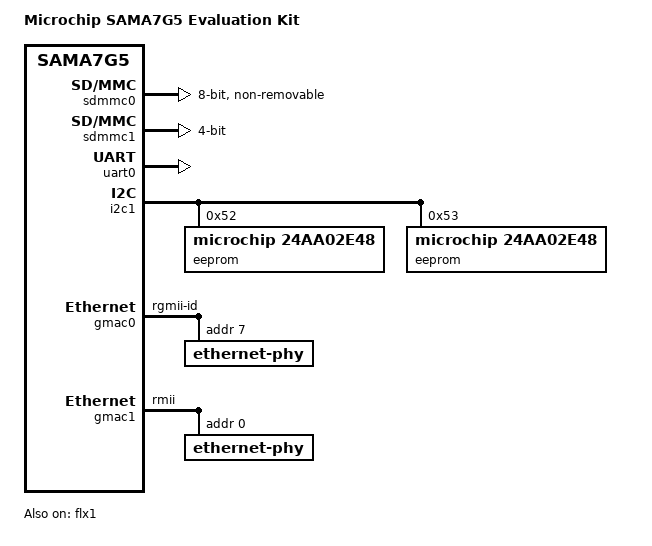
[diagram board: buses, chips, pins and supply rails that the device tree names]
// SPDX-License-Identifier: GPL-2.0+ OR MIT
/*
 * sama7g5ek.dts - Device Tree file for SAMA7G5 EK
 *		   SAMA7G5 Evaluation Kit
 *
 *  Copyright (c) 2020, Microchip Technology Inc.
 *                2020, Eugen Hristev <eugen.hristev@microchip.com>
 *		  2020, Claudiu Beznea <claudiu.beznea@microchip.com>
 */
/dts-v1/;
#include <dt-bindings/mfd/atmel-flexcom.h>
#include "sama7g5.dtsi"
#include "sama7g5-pinfunc.h"

/ {
	model = "Microchip SAMA7G5 Evaluation Kit";
	compatible = "microchip,sama7g5ek", "microchip,sama7g54", "microchip,sama7g5", "microchip,sama7";

	aliases {
		serial0 = &uart0;
		i2c0 = &i2c1;
	};

	chosen {
		stdout-path = "serial0:115200n8";
	};

	clocks {
		slow_xtal: slow_xtal {
			clock-frequency = <32768>;
		};

		main_xtal: main_xtal {
			clock-frequency = <24000000>;
		};
	};

	ahb {

		apb {
			sdmmc0: sdio-host@e1204000 {
				bus-width = <8>;
				non-removable;
				pinctrl-names = "default";
				pinctrl-0 = <&pinctrl_sdmmc0_cmd_data_default
					     &pinctrl_sdmmc0_ck_rstn_ds_cd_default>;
				status = "okay";
			};

			sdmmc1: sdio-host@e1208000 {
				bus-width = <4>;
				pinctrl-names = "default";
				pinctrl-0 = <&pinctrl_sdmmc1_cmd_data_default
					     &pinctrl_sdmmc1_ck_cd_rstn_vddsel_default>;
				status = "okay";
			};

			uart0: serial@e1824200 {
				pinctrl-names = "default";
				pinctrl-0 = <&pinctrl_flx3_default>;
				status = "okay";
			};
		};
	};
};

&flx1 {
	atmel,flexcom-mode = <ATMEL_FLEXCOM_MODE_TWI>;
	status = "okay";
};

&i2c1 {
	pinctrl-names = "default";
	pinctrl-0 = <&pinctrl_flx1_default>;
	status = "okay";

	eeprom@52 {
		compatible = "microchip,24aa02e48";
		reg = <0x52>;
		pagesize = <16>;
	};

	eeprom@53 {
		compatible = "microchip,24aa02e48";
		reg = <0x53>;
		pagesize = <16>;
	};
};

&gmac0 {
	#address-cells = <1>;
	#size-cells = <0>;
	pinctrl-names = "default";
	pinctrl-0 = <&pinctrl_gmac0_default &pinctrl_gmac0_txc_default>;
	phy-mode = "rgmii-id";
	status = "okay";

	ethernet-phy@7 {
		reg = <0x7>;
	};
};

&gmac1 {
	#address-cells = <1>;
	#size-cells = <0>;
	pinctrl-names = "default";
	pinctrl-0 = <&pinctrl_gmac1_default>;
	phy-mode = "rmii";
	status = "okay";

	ethernet-phy@0 {
		reg = <0x0>;
	};
};

&pinctrl {
	pinctrl_flx1_default: flx1_default {
		pinmux = <PIN_PC9__FLEXCOM1_IO0>,
			 <PIN_PC10__FLEXCOM1_IO1>;
		bias-disable;
	};

	pinctrl_flx3_default: flx3_default {
		pinmux = <PIN_PD16__FLEXCOM3_IO0>,
			 <PIN_PD17__FLEXCOM3_IO1>;
		bias-pull-up;
	};

	pinctrl_sdmmc0_cmd_data_default: sdmmc0_cmd_data_default {
		pinmux = <PIN_PA1__SDMMC0_CMD>,
			 <PIN_PA3__SDMMC0_DAT0>,
			 <PIN_PA4__SDMMC0_DAT1>,
			 <PIN_PA5__SDMMC0_DAT2>,
			 <PIN_PA6__SDMMC0_DAT3>,
			 <PIN_PA7__SDMMC0_DAT4>,
			 <PIN_PA8__SDMMC0_DAT5>,
			 <PIN_PA9__SDMMC0_DAT6>,
			 <PIN_PA10__SDMMC0_DAT7>;
		bias-pull-up;
	};

	pinctrl_sdmmc0_ck_rstn_ds_cd_default: sdmmc0_ck_rstn_ds_cd_default {
		pinmux = <PIN_PA0__SDMMC0_CK>,
			 <PIN_PA2__SDMMC0_RSTN>,
			 <PIN_PA11__SDMMC0_DS>,
			 <PIN_PA14__SDMMC0_CD>;
		bias-pull-up;
	};

	pinctrl_sdmmc1_cmd_data_default: sdmmc1_cmd_data_default {
		pinmux = <PIN_PB29__SDMMC1_CMD>,
			 <PIN_PB31__SDMMC1_DAT0>,
			 <PIN_PC0__SDMMC1_DAT1>,
			 <PIN_PC1__SDMMC1_DAT2>,
			 <PIN_PC2__SDMMC1_DAT3>;
		bias-pull-up;
	};

	pinctrl_sdmmc1_ck_cd_rstn_vddsel_default: sdmmc1_ck_cd_rstn_vddsel_default {
		pinmux = <PIN_PB30__SDMMC1_CK>,
			 <PIN_PB28__SDMMC1_RSTN>,
			 <PIN_PC5__SDMMC1_1V8SEL>,
			 <PIN_PC4__SDMMC1_CD>;
		bias-pull-up;
	};

	pinctrl_gmac0_default: gmac0_default {
		pinmux = <PIN_PA16__G0_TX0>,
			 <PIN_PA17__G0_TX1>,
			 <PIN_PA26__G0_TX2>,
			 <PIN_PA27__G0_TX3>,
			 <PIN_PA19__G0_RX0>,
			 <PIN_PA20__G0_RX1>,
			 <PIN_PA28__G0_RX2>,
			 <PIN_PA29__G0_RX3>,
			 <PIN_PA15__G0_TXEN>,
			 <PIN_PA30__G0_RXCK>,
			 <PIN_PA18__G0_RXDV>,
			 <PIN_PA22__G0_MDC>,
			 <PIN_PA23__G0_MDIO>,
			 <PIN_PA25__G0_125CK>;
		bias-disable;
	};

	pinctrl_gmac0_txc_default: gmac0_txc_default {
		pinmux = <PIN_PA24__G0_TXCK>;
		bias-pull-up;
	};

	pinctrl_gmac1_default: gmac1_default {
		pinmux = <PIN_PD30__G1_TXCK>,
			 <PIN_PD22__G1_TX0>,
			 <PIN_PD23__G1_TX1>,
			 <PIN_PD21__G1_TXEN>,
			 <PIN_PD25__G1_RX0>,
			 <PIN_PD26__G1_RX1>,
			 <PIN_PD27__G1_RXER>,
			 <PIN_PD24__G1_RXDV>,
			 <PIN_PD28__G1_MDC>,
			 <PIN_PD29__G1_MDIO>;
		bias-disable;
	};
};
